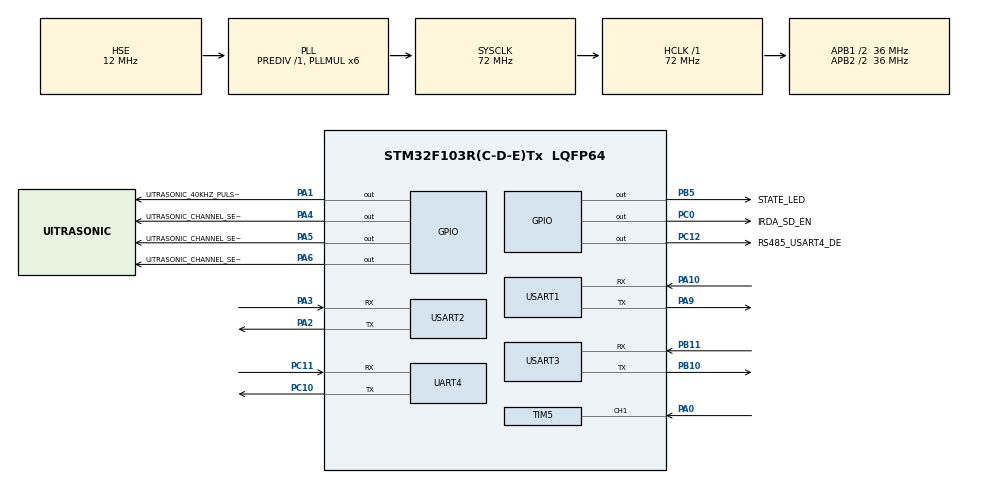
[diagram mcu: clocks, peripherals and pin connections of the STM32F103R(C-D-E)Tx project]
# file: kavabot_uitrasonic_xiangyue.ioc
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Dma.Request0=USART2_TX
Dma.Request1=USART2_RX
Dma.Request2=USART3_RX
Dma.Request3=USART3_TX
Dma.Request4=USART1_RX
Dma.Request5=USART1_TX
Dma.USART1_RX.4.Direction=DMA_PERIPH_TO_MEMORY
Dma.USART1_RX.4.Instance=DMA1_Channel5
Dma.USART1_RX.4.MemDataAlignment=DMA_MDATAALIGN_BYTE
Dma.USART1_RX.4.MemInc=DMA_MINC_ENABLE
Dma.USART1_RX.4.Mode=DMA_CIRCULAR
Dma.USART1_RX.4.PeriphDataAlignment=DMA_PDATAALIGN_BYTE
Dma.USART1_RX.4.PeriphInc=DMA_PINC_DISABLE
Dma.USART1_RX.4.Priority=DMA_PRIORITY_LOW
Dma.USART1_TX.5.Direction=DMA_MEMORY_TO_PERIPH
Dma.USART1_TX.5.Instance=DMA1_Channel4
Dma.USART1_TX.5.MemDataAlignment=DMA_MDATAALIGN_BYTE
Dma.USART1_TX.5.MemInc=DMA_MINC_ENABLE
Dma.USART1_TX.5.Mode=DMA_CIRCULAR
Dma.USART1_TX.5.PeriphDataAlignment=DMA_PDATAALIGN_BYTE
Dma.USART1_TX.5.PeriphInc=DMA_PINC_DISABLE
Dma.USART1_TX.5.Priority=DMA_PRIORITY_LOW
Dma.USART2_RX.1.Direction=DMA_PERIPH_TO_MEMORY
Dma.USART2_RX.1.Instance=DMA1_Channel6
Dma.USART2_RX.1.MemDataAlignment=DMA_MDATAALIGN_BYTE
Dma.USART2_RX.1.MemInc=DMA_MINC_ENABLE
Dma.USART2_RX.1.Mode=DMA_CIRCULAR
Dma.USART2_RX.1.PeriphDataAlignment=DMA_PDATAALIGN_BYTE
Dma.USART2_RX.1.PeriphInc=DMA_PINC_DISABLE
Dma.USART2_RX.1.Priority=DMA_PRIORITY_LOW
Dma.USART2_TX.0.Direction=DMA_MEMORY_TO_PERIPH
Dma.USART2_TX.0.Instance=DMA1_Channel7
Dma.USART2_TX.0.MemDataAlignment=DMA_MDATAALIGN_BYTE
Dma.USART2_TX.0.MemInc=DMA_MINC_ENABLE
Dma.USART2_TX.0.Mode=DMA_CIRCULAR
Dma.USART2_TX.0.PeriphDataAlignment=DMA_PDATAALIGN_BYTE
Dma.USART2_TX.0.PeriphInc=DMA_PINC_DISABLE
Dma.USART2_TX.0.Priority=DMA_PRIORITY_LOW
Dma.USART3_RX.2.Direction=DMA_PERIPH_TO_MEMORY
Dma.USART3_RX.2.Instance=DMA1_Channel3
Dma.USART3_RX.2.MemDataAlignment=DMA_MDATAALIGN_BYTE
Dma.USART3_RX.2.MemInc=DMA_MINC_ENABLE
Dma.USART3_RX.2.Mode=DMA_CIRCULAR
Dma.USART3_RX.2.PeriphDataAlignment=DMA_PDATAALIGN_BYTE
Dma.USART3_RX.2.PeriphInc=DMA_PINC_DISABLE
Dma.USART3_RX.2.Priority=DMA_PRIORITY_LOW
Dma.USART3_TX.3.Direction=DMA_MEMORY_TO_PERIPH
Dma.USART3_TX.3.Instance=DMA1_Channel2
Dma.USART3_TX.3.MemDataAlignment=DMA_MDATAALIGN_BYTE
Dma.USART3_TX.3.MemInc=DMA_MINC_ENABLE
Dma.USART3_TX.3.Mode=DMA_CIRCULAR
Dma.USART3_TX.3.PeriphDataAlignment=DMA_PDATAALIGN_BYTE
Dma.USART3_TX.3.PeriphInc=DMA_PINC_DISABLE
Dma.USART3_TX.3.Priority=DMA_PRIORITY_LOW
Mcu.Family=STM32F1
Mcu.Name=STM32F103R(C-D-E)Tx
Mcu.Package=LQFP64
NVIC.DMA1_Channel2_IRQn=true\:0\:0\:false\:false\:true\:false\:true
NVIC.DMA1_Channel3_IRQn=true\:0\:0\:false\:false\:true\:false\:true
NVIC.DMA1_Channel4_IRQn=true\:0\:0\:false\:false\:true\:false\:true
NVIC.DMA1_Channel5_IRQn=true\:0\:0\:false\:false\:true\:false\:true
NVIC.DMA1_Channel6_IRQn=true\:0\:0\:false\:false\:true\:false\:true
NVIC.DMA1_Channel7_IRQn=true\:0\:0\:false\:false\:true\:false\:true
NVIC.PriorityGroup=NVIC_PRIORITYGROUP_4
NVIC.TIM1_UP_IRQn=true\:3\:0\:true\:false\:true\:true\:true
NVIC.TIM5_IRQn=true\:0\:0\:false\:false\:true\:true\:true
NVIC.UART4_IRQn=true\:0\:0\:false\:false\:true\:true\:true
NVIC.USART1_IRQn=true\:5\:0\:true\:false\:true\:true\:true
PA0-WKUP.GPIO_PuPd=GPIO_PULLDOWN
PA0-WKUP.Signal=S_TIM5_CH1
PA1.GPIO_Label=UITRASONIC_40KHZ_PULSE_OUTPUT
PA1.Signal=GPIO_Output
PA10.Mode=Asynchronous
PA10.Signal=USART1_RX
PA13.Mode=Serial_Wire
PA13.Signal=SYS_JTMS-SWDIO
PA14.Mode=Serial_Wire
PA14.Signal=SYS_JTCK-SWCLK
PA2.Mode=Asynchronous
PA2.Signal=USART2_TX
PA3.Mode=Asynchronous
PA3.Signal=USART2_RX
PA4.GPIO_Label=UITRASONIC_CHANNEL_SEL_0
PA4.Signal=GPIO_Output
PA5.GPIO_Label=UITRASONIC_CHANNEL_SEL_1
PA5.Signal=GPIO_Output
PA6.GPIO_Label=UITRASONIC_CHANNEL_SEL_2
PA6.Signal=GPIO_Output
PA9.Mode=Asynchronous
PA9.Signal=USART1_TX
PB10.Mode=IrDA
PB10.Signal=USART3_TX
PB11.Mode=IrDA
PB11.Signal=USART3_RX
PB5.GPIO_Label=STATE_LED
PB5.Signal=GPIO_Output
PC0.GPIO_Label=IRDA_SD_EN
PC0.Signal=GPIO_Output
PC10.Mode=Asynchronous
PC10.Signal=UART4_TX
PC11.Mode=Asynchronous
PC11.Signal=UART4_RX
PC12.GPIO_Label=RS485_USART4_DE
PC12.Signal=GPIO_Output
PD0-OSC_IN.Mode=HSE-External-Oscillator
PD0-OSC_IN.Signal=RCC_OSC_IN
PD1-OSC_OUT.Mode=HSE-External-Oscillator
PD1-OSC_OUT.Signal=RCC_OSC_OUT
ProjectManager.HeapSize=0x200
ProjectManager.StackSize=0x400
ProjectManager.TargetToolchain=Makefile
RCC.ADCPresc=RCC_ADCPCLK2_DIV6
RCC.AHBFreq_Value=72000000
RCC.APB1CLKDivider=RCC_HCLK_DIV2
RCC.APB1Freq_Value=36000000
RCC.APB1TimFreq_Value=72000000
RCC.APB2CLKDivider=RCC_HCLK_DIV2
RCC.APB2Freq_Value=36000000
RCC.APB2TimFreq_Value=72000000
RCC.HCLKFreq_Value=72000000
RCC.HSE_VALUE=12000000
RCC.PLLMUL=RCC_PLL_MUL6
RCC.PLLSourceVirtual=RCC_PLLSOURCE_HSE
RCC.SYSCLKFreq_VALUE=72000000
RCC.SYSCLKSource=RCC_SYSCLKSOURCE_PLLCLK
RCC.USBFreq_Value=72000000
SH.S_TIM5_CH1.0=TIM5_CH1,Input_Capture1_from_TI1
TIM1.AutoReloadPreload=TIM_AUTORELOAD_PRELOAD_ENABLE
TIM1.Period=10000 - 1
TIM1.Prescaler=72 - 1
TIM2.AutoReloadPreload=TIM_AUTORELOAD_PRELOAD_ENABLE
TIM2.Period=20000 - 1
TIM2.Prescaler=72 - 1
TIM5.AutoReloadPreload=TIM_AUTORELOAD_PRELOAD_ENABLE
TIM5.Channel-Input_Capture1_from_TI1=TIM_CHANNEL_1
TIM5.ICFilter_CH1=8
TIM5.Period=0xffff
TIM5.Prescaler=71
TIM6.AutoReloadPreload=TIM_AUTORELOAD_PRELOAD_ENABLE
TIM6.Period=65536 - 1
TIM6.Prescaler=72 -1
UART4.VirtualMode=Asynchronous
USART1.VirtualMode=VM_ASYNC
USART2.VirtualMode=VM_ASYNC
USART3.VirtualMode=VM_IRDA
VP_TIM1_VS_ClockSourceINT.Mode=Internal
VP_TIM2_VS_ClockSourceINT.Mode=Internal
VP_TIM6_VS_ClockSourceINT.Mode=Enable_Timer
board=custom

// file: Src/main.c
/* USER CODE BEGIN Header */
/**
 ******************************************************************************
 * @file           : main.c
 * @brief          : Main program body
 ******************************************************************************
 * @attention
 *
 * <h2><center>&copy; Copyright (c) 2021 STMicroelectronics.
 * All rights reserved.</center></h2>
 *
 * This software component is licensed by ST under BSD 3-Clause license,
 * the "License"; You may not use this file except in compliance with the
 * License. You may obtain a copy of the License at:
 *                        opensource.org/licenses/BSD-3-Clause
 *
 ******************************************************************************
 */
/* USER CODE END Header */
#include "main.h"
#include "dma.h"
#include "tim.h"
#include "usart.h"
#include "gpio.h"

/* USER CODE BEGIN Includes */
#include "ota.h"
#include "app.h"
#include "bsp_09.h"
#include "SEGGER_RTT.h"
#include "log.h"
#include "delay.h"
#include "time.h"
#include "stdio.h"
/* USER CODE END Includes */

/* USER CODE BEGIN PM */
uint32_t capture_Buf[3] = {0};  //存放计数
uint8_t capture_Cnt = 0;
uint32_t high_time = 0;
uint32_t high_time_buff[30] = {0};
uint8_t receive_flag = 0;

/* USER CODE END PM */

void SystemClock_Config(void);

int main(void) {

    /* MCU
     * Configuration--------------------------------------------------------*/

    /* Reset of all peripherals, Initializes the Flash interface and the
     * Systick. */
    HAL_Init();

    /* Configure the system clock */
    SystemClock_Config();

    /* USER CODE BEGIN SysInit */
#ifdef IAP
    SCB->VTOR = FLASH_BASE | 0x00008200;
    __set_FAULTMASK(0);
    __enable_irq();
#endif
    /* USER CODE END SysInit */

    /* Initialize all configured peripherals */
    MX_GPIO_Init();
    MX_DMA_Init();
    MX_TIM1_Init();
    MX_TIM2_Init();
    MX_USART1_UART_Init();
    MX_UART4_Init();
    MX_TIM6_Init();
    MX_TIM5_Init();
    MX_USART2_UART_Init();
    MX_USART3_IRDA_Init();
    /* USER CODE BEGIN 2 */
    app_init();
    ota_init();
    /* USER CODE END 2 */

    /* Infinite loop */
    /* USER CODE BEGIN WHILE */
    bsp_09_channel_loop_thres_setup();
    while (1) {
        ota_server();
        if (ota_start == 0) {
            bsp_09_distance_detect_server3();
            ota_send_version(320);
        }
        /* USER CODE END WHILE */
    }
}

void SystemClock_Config(void) {
    RCC_OscInitTypeDef RCC_OscInitStruct = {0};
    RCC_ClkInitTypeDef RCC_ClkInitStruct = {0};

    /** Initializes the RCC Oscillators according to the specified parameters
     * in the RCC_OscInitTypeDef structure.
     */
    RCC_OscInitStruct.OscillatorType = RCC_OSCILLATORTYPE_HSE;
    RCC_OscInitStruct.HSEState = RCC_HSE_ON;
    RCC_OscInitStruct.HSEPredivValue = RCC_HSE_PREDIV_DIV1;
    RCC_OscInitStruct.HSIState = RCC_HSI_ON;
    RCC_OscInitStruct.PLL.PLLState = RCC_PLL_ON;
    RCC_OscInitStruct.PLL.PLLSource = RCC_PLLSOURCE_HSE;
    RCC_OscInitStruct.PLL.PLLMUL = RCC_PLL_MUL6;
    if (HAL_RCC_OscConfig(&RCC_OscInitStruct) != HAL_OK) {
        Error_Handler();
    }
    /** Initializes the CPU, AHB and APB buses clocks
     */
    RCC_ClkInitStruct.ClockType = RCC_CLOCKTYPE_HCLK | RCC_CLOCKTYPE_SYSCLK |
                                  RCC_CLOCKTYPE_PCLK1 | RCC_CLOCKTYPE_PCLK2;
    RCC_ClkInitStruct.SYSCLKSource = RCC_SYSCLKSOURCE_PLLCLK;
    RCC_ClkInitStruct.AHBCLKDivider = RCC_SYSCLK_DIV1;
    RCC_ClkInitStruct.APB1CLKDivider = RCC_HCLK_DIV2;
    RCC_ClkInitStruct.APB2CLKDivider = RCC_HCLK_DIV2;

    if (HAL_RCC_ClockConfig(&RCC_ClkInitStruct, FLASH_LATENCY_2) != HAL_OK) {
        Error_Handler();
    }
}

/* USER CODE BEGIN 4 */
/* USER CODE BEGIN 1 */
void HAL_TIM_IC_CaptureCallback(TIM_HandleTypeDef *htim) {
    // LOG_WARNING("capture2");
    if (TIM5 == htim->Instance) {
        switch (capture_Cnt) {
            case 1:
                if (receive_flag == 1) {
                    HAL_TIM_Base_Stop(&htim6);
                    receive_flag = 0;
                    break;
                }
                capture_Buf[0] = HAL_TIM_ReadCapturedValue(
                    &htim5, TIM_CHANNEL_1);  //获取当前的捕获�??.
                //__HAL_TIM_SET_CAPTUREPOLARITY(&htim5,TIM_CHANNEL_1,TIM_ICPOLARITY_FALLING);
                ////设置为下降沿捕获
                capture_Cnt++;
                break;
            case 2:
                capture_Buf[1] = HAL_TIM_ReadCapturedValue(
                    &htim5, TIM_CHANNEL_1);  //获取当前的捕获�??.
                HAL_TIM_IC_Stop_IT(&htim5,
                                   TIM_CHANNEL_1);  //停止捕获   或�??:
                                                    //__HAL_TIM_DISABLE(&htim5);
                capture_Cnt++;
        }
    }
}
/* USER CODE END 4 */

void Error_Handler(void) {
    /* USER CODE BEGIN Error_Handler_Debug */
    /* User can add his own implementation to report the HAL error return state
     */
    __disable_irq();
    while (1) {}
    /* USER CODE END Error_Handler_Debug */
}

#ifdef USE_FULL_ASSERT
/**
 * @brief  Reports the name of the source file and the source line number
 *         where the assert_param error has occurred.
 * @param  file: pointer to the source file name
 * @param  line: assert_param error line source number
 * @retval None
 */
void assert_failed(uint8_t *file, uint32_t line) {
    /* USER CODE BEGIN 6 */
    /* User can add his own implementation to report the file name and line
       number, ex: printf("Wrong parameters value: file %s on line %d\r\n",
       file, line) */
    /* USER CODE END 6 */
}
#endif /* USE_FULL_ASSERT */

/************************ (C) COPYRIGHT STMicroelectronics *****END OF FILE****/
